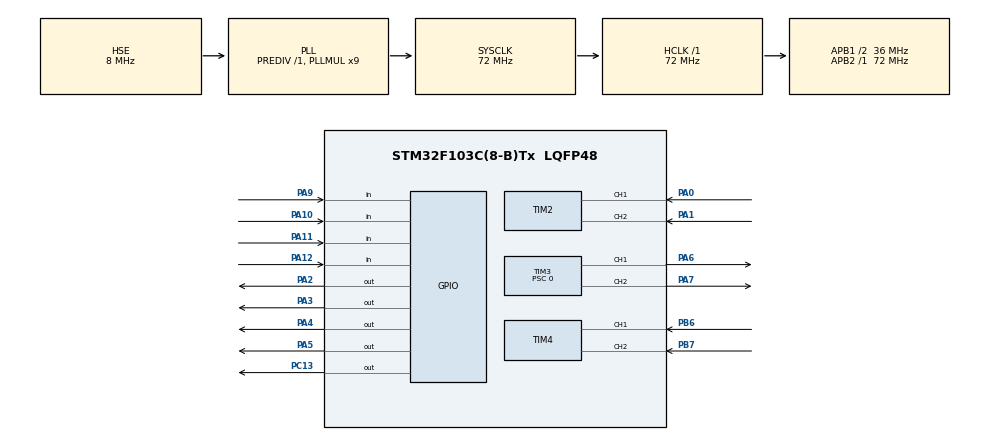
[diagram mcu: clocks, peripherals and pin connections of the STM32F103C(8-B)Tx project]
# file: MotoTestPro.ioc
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Mcu.Family=STM32F1
Mcu.Name=STM32F103C(8-B)Tx
Mcu.Package=LQFP48
NVIC.PriorityGroup=NVIC_PRIORITYGROUP_4
NVIC.TIM3_IRQn=true\:0\:0\:true\:false\:true\:true\:true\:true
PA0-WKUP.Signal=S_TIM2_CH1_ETR
PA1.Signal=S_TIM2_CH2
PA10.GPIO_PuPd=GPIO_PULLDOWN
PA10.Signal=GPIO_Input
PA11.GPIO_PuPd=GPIO_PULLDOWN
PA11.Signal=GPIO_Input
PA12.GPIO_PuPd=GPIO_PULLDOWN
PA12.Signal=GPIO_Input
PA13.Mode=Serial_Wire
PA13.Signal=SYS_JTMS-SWDIO
PA14.Mode=Serial_Wire
PA14.Signal=SYS_JTCK-SWCLK
PA2.GPIO_PuPd=GPIO_PULLDOWN
PA2.Signal=GPIO_Output
PA3.GPIO_PuPd=GPIO_PULLDOWN
PA3.Signal=GPIO_Output
PA4.GPIO_PuPd=GPIO_PULLDOWN
PA4.Signal=GPIO_Output
PA5.GPIO_PuPd=GPIO_PULLDOWN
PA5.Signal=GPIO_Output
PA6.Signal=S_TIM3_CH1
PA7.Signal=S_TIM3_CH2
PA9.GPIO_PuPd=GPIO_PULLDOWN
PA9.Signal=GPIO_Input
PB6.Signal=S_TIM4_CH1
PB7.Signal=S_TIM4_CH2
PC13-TAMPER-RTC.Signal=GPIO_Output
PD0-OSC_IN.Mode=HSE-External-Oscillator
PD0-OSC_IN.Signal=RCC_OSC_IN
PD1-OSC_OUT.Mode=HSE-External-Oscillator
PD1-OSC_OUT.Signal=RCC_OSC_OUT
ProjectManager.HeapSize=0x200
ProjectManager.StackSize=0x400
ProjectManager.TargetToolchain=MDK-ARM V5.32
RCC.AHBFreq_Value=72000000
RCC.APB1CLKDivider=RCC_HCLK_DIV2
RCC.APB1Freq_Value=36000000
RCC.APB1TimFreq_Value=72000000
RCC.APB2Freq_Value=72000000
RCC.APB2TimFreq_Value=72000000
RCC.HCLKFreq_Value=72000000
RCC.PLLMUL=RCC_PLL_MUL9
RCC.PLLSourceVirtual=RCC_PLLSOURCE_HSE
RCC.SYSCLKFreq_VALUE=72000000
RCC.SYSCLKSource=RCC_SYSCLKSOURCE_PLLCLK
RCC.USBFreq_Value=72000000
SH.S_TIM2_CH1_ETR.0=TIM2_CH1,Encoder_Interface
SH.S_TIM2_CH2.0=TIM2_CH2,Encoder_Interface
SH.S_TIM3_CH1.0=TIM3_CH1,PWM Generation1 CH1
SH.S_TIM3_CH2.0=TIM3_CH2,PWM Generation2 CH2
SH.S_TIM4_CH1.0=TIM4_CH1,Encoder_Interface
SH.S_TIM4_CH2.0=TIM4_CH2,Encoder_Interface
TIM2.EncoderMode=TIM_ENCODERMODE_TI12
TIM2.IC1Filter=10
TIM2.IC2Filter=10
TIM3.Channel-PWM\ Generation1\ CH1=TIM_CHANNEL_1
TIM3.Channel-PWM\ Generation2\ CH2=TIM_CHANNEL_2
TIM3.Period=1000-1
TIM3.Prescaler=0
TIM4.EncoderMode=TIM_ENCODERMODE_TI12
TIM4.IC1Filter=10
TIM4.IC2Filter=10
VP_TIM3_VS_ClockSourceINT.Mode=Internal
board=custom

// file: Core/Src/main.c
/* USER CODE BEGIN Header */
/**
 ******************************************************************************
 * @file           : main.c
 * @brief          : Main program body
 ******************************************************************************
 * @attention
 *
 * Copyright (c) 2023 STMicroelectronics.
 * All rights reserved.
 *
 * This software is licensed under terms that can be found in the LICENSE file
 * in the root directory of this software component.
 * If no LICENSE file comes with this software, it is provided AS-IS.
 *
 ******************************************************************************
 */
/* USER CODE END Header */
#include "main.h"
#include "tim.h"
#include "gpio.h"

/* USER CODE BEGIN Includes */
#include "motor.h"
#include "encoder.h"
#include "Light.h"
/* USER CODE END Includes */

/* USER CODE BEGIN PD */

#

/* USER CODE END PD */

void SystemClock_Config(void);

/* USER CODE BEGIN 0 */

int L = 1, R = 1;                                     // Direction
int TargetVelocityR = 0;                              // WheelRargetSpeed
int TargetVelocityL = 0;                              // WheelLargetSpeed
float Velcity_Kp = 0.2, Velcity_Ki = 0.1, Velcity_Kd; // PID
int Delayt = 0;                                       // 1/7200延时UTF-8
int bias = 0;
// Timer3 It Callback

#ifdef MODE2
void HAL_TIM_PeriodElapsedCallback(TIM_HandleTypeDef *htim)
{
  if (htim == &htim3)
  {
    LineCtrl(&TargetVelocityR, &TargetVelocityL, &R, &L, &Delayt, &bias);
    Motor(R, L, TargetVelocityR, TargetVelocityL);
  }
}
#else
#ifdef MODE1
void HAL_TIM_PeriodElapsedCallback(TIM_HandleTypeDef *htim)
{
  if (htim == &htim3)
  {
    LineCtrl(&TargetVelocityR, &TargetVelocityL, &R, &L, &Delayt, &bias);
    Motor(R, L, TargetVelocityR, TargetVelocityL);
  }
}
#endif

#endif

// ENDCODER TEST
int x1, x2;
/* USER CODE END 0 */

int main(void)
{

  /* MCU Configuration--------------------------------------------------------*/

  /* Reset of all peripherals, Initializes the Flash interface and the Systick. */
  HAL_Init();

  /* Configure the system clock */
  SystemClock_Config();

  /* Initialize all configured peripherals */
  MX_GPIO_Init();
  MX_TIM2_Init();
  MX_TIM3_Init();
  MX_TIM4_Init();
  /* USER CODE BEGIN 2 */

  // TIM3 IT Init
  HAL_TIM_Base_Start_IT(&htim3);
  // TIM3 PWM Init
  HAL_TIM_PWM_Start(&htim3, TIM_CHANNEL_1);
  HAL_TIM_PWM_Start(&htim3, TIM_CHANNEL_2);
  __HAL_TIM_SET_COMPARE(&htim3, TIM_CHANNEL_1, 0);
  __HAL_TIM_SET_COMPARE(&htim3, TIM_CHANNEL_1, 0);

  // TIM2/4 encoder Init
  HAL_TIM_Encoder_Start(&htim2, TIM_CHANNEL_ALL);
  HAL_TIM_Encoder_Start(&htim4, TIM_CHANNEL_ALL);

  /* USER CODE END 2 */

  /* Infinite loop */
  /* USER CODE BEGIN WHILE */
  while (1)
  {
#ifdef MODE3
// Motor(1,0,500,500);
// LineCtrl(&TargetVelocityR,&TargetVelocityL,&R,&L,&Delayt,&bias);
#endif
    // Motor(1,1,8000,8000);
    /*x1=Read_Encoder(2);
    x2=Read_Encoder(4);*/
    /* USER CODE END WHILE */

  }
}

void SystemClock_Config(void)
{
  RCC_OscInitTypeDef RCC_OscInitStruct = {0};
  RCC_ClkInitTypeDef RCC_ClkInitStruct = {0};

  /** Initializes the RCC Oscillators according to the specified parameters
  * in the RCC_OscInitTypeDef structure.
  */
  RCC_OscInitStruct.OscillatorType = RCC_OSCILLATORTYPE_HSE;
  RCC_OscInitStruct.HSEState = RCC_HSE_ON;
  RCC_OscInitStruct.HSEPredivValue = RCC_HSE_PREDIV_DIV1;
  RCC_OscInitStruct.HSIState = RCC_HSI_ON;
  RCC_OscInitStruct.PLL.PLLState = RCC_PLL_ON;
  RCC_OscInitStruct.PLL.PLLSource = RCC_PLLSOURCE_HSE;
  RCC_OscInitStruct.PLL.PLLMUL = RCC_PLL_MUL9;
  if (HAL_RCC_OscConfig(&RCC_OscInitStruct) != HAL_OK)
  {
    Error_Handler();
  }

  /** Initializes the CPU, AHB and APB buses clocks
  */
  RCC_ClkInitStruct.ClockType = RCC_CLOCKTYPE_HCLK|RCC_CLOCKTYPE_SYSCLK
                              |RCC_CLOCKTYPE_PCLK1|RCC_CLOCKTYPE_PCLK2;
  RCC_ClkInitStruct.SYSCLKSource = RCC_SYSCLKSOURCE_PLLCLK;
  RCC_ClkInitStruct.AHBCLKDivider = RCC_SYSCLK_DIV1;
  RCC_ClkInitStruct.APB1CLKDivider = RCC_HCLK_DIV2;
  RCC_ClkInitStruct.APB2CLKDivider = RCC_HCLK_DIV1;

  if (HAL_RCC_ClockConfig(&RCC_ClkInitStruct, FLASH_LATENCY_2) != HAL_OK)
  {
    Error_Handler();
  }
}

void Error_Handler(void)
{
  __disable_irq();
  while (1)
  {
  }
}
